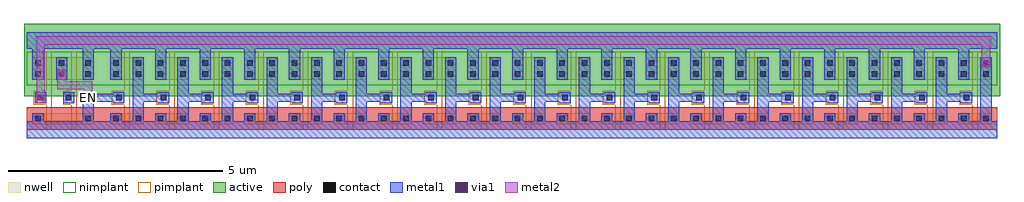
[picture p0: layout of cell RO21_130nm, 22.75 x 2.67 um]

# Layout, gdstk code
import gdstk
lib = gdstk.Library(unit=1e-6, precision=1e-09)
def R(c, l, rs):  # rectangles x0, y0, x1, y1
    for r in rs: c.add(gdstk.rectangle(r[:2], r[2:], *l))
def A(c, l, x, y, w, h, nx, ny, dx, dy):  # array of equal rectangles
    R(c, l, [(x+i*dx, y+j*dy, x+i*dx+w, y+j*dy+h) for i in range(nx) for j in range(ny)])
active = (1, 0)
nwell = (2, 0)
poly = (3, 0)
nimplant = (4, 0)
pimplant = (5, 0)
contact = (6, 0)
metal1 = (7, 0)
via1 = (8, 0)
metal2 = (9, 0)

ro21_130nm = lib.new_cell('RO21_130nm')
A(ro21_130nm, active, 1.755, 0.975, 1.17, 1.69, 20, 1, 1.04, 0)
R(ro21_130nm, active, [(-0.065,0.975,1.885,2.665)])
A(ro21_130nm, nwell, 1.95, 0.325, 0.78, 0.26, 20, 1, 1.04, 0)
A(ro21_130nm, nwell, 1.95, 1.365, 0.78, 0.52, 20, 1, 1.04, 0)
R(ro21_130nm, nwell, [(0.13,0.325,1.56,0.585), (0.13,1.365,1.56,1.885)])
A(ro21_130nm, poly, 1.82, 0.195, 1.04, 0.52, 20, 1, 1.04, 0)
R(ro21_130nm, poly, [(0,0.195,1.82,0.715)])
A(ro21_130nm, nimplant, 1.82, 1.235, 1.04, 0.78, 20, 1, 1.04, 0)
R(ro21_130nm, nimplant, [(0,1.235,1.82,2.015)])
A(ro21_130nm, pimplant, 2.275, 0.195, 0.13, 1.82, 20, 1, 1.04, 0)
R(ro21_130nm, pimplant, [(0.455,0.195,0.585,2.015), (1.04,0.195,1.17,2.015), (0.163,0.78,0.488,1.105), (0.845,0.78,1.17,1.105), (1.983,0.78,2.308,1.105), (3.022,0.78,3.347,1.105), (4.062,0.78,4.388,1.105), (5.102,0.78,5.428,1.105), (6.142,0.78,6.467,1.105), (7.182,0.78,7.507,1.105), (8.223,0.78,8.547,1.105), (9.263,0.78,9.588,1.105), (10.302,0.78,10.627,1.105), (11.343,0.78,11.668,1.105), (12.382,0.78,12.707,1.105), (13.423,0.78,13.747,1.105), (14.462,0.78,14.787,1.105), (15.503,0.78,15.827,1.105), (16.543,0.78,16.867,1.105), (17.582,0.78,17.907,1.105), (18.623,0.78,18.948,1.105), (19.663,0.78,19.988,1.105), (20.703,0.78,21.027,1.105), (21.742,0.78,22.067,1.105)])
A(ro21_130nm, contact, 2.015, 0.39, 0.13, 0.13, 40, 2, 0.52, 1.04)
A(ro21_130nm, contact, 2.08, 0.878, 0.13, 0.13, 20, 1, 1.04, 0)
A(ro21_130nm, contact, 2.015, 1.69, 0.13, 0.13, 40, 1, 0.52, 0)
R(ro21_130nm, contact, [(0.195,0.39,0.325,0.52), (1.365,0.39,1.495,0.52), (0.26,0.878,0.39,1.008), (0.91,0.878,1.04,1.008), (0.195,1.43,0.325,1.56), (0.748,1.43,0.878,1.56), (1.365,1.43,1.495,1.56), (0.195,1.69,0.325,1.82), (0.748,1.69,0.878,1.82), (1.365,1.69,1.495,1.82)])
A(ro21_130nm, metal1, 1.82, 0, 1.04, 0.39, 20, 2, 1.04, 2.08)
A(ro21_130nm, metal1, 1.95, 0, 0.26, 0.585, 20, 1, 1.04, 0)
A(ro21_130nm, metal1, 2.47, 0.325, 0.26, 1.56, 20, 1, 1.04, 0)
A(ro21_130nm, metal1, 2.015, 0.812, 0.26, 0.261, 20, 1, 1.04, 0)
A(ro21_130nm, metal1, 2.73, 0.845, 0.325, 0.195, 19, 1, 1.04, 0)
A(ro21_130nm, metal1, 1.95, 1.365, 0.26, 1.105, 20, 1, 1.04, 0)
R(ro21_130nm, metal1, [(0,0,1.82,0.39), (0.13,0,0.39,0.585), (1.3,0.325,1.56,1.04), (0.195,0.812,0.455,1.073), (0.845,0.812,1.105,1.073), (1.56,0.845,2.015,1.04), (0.13,1.365,0.39,2.47), (0.682,1.365,0.942,1.885), (1.3,1.365,1.56,2.47), (0,2.08,1.82,2.47)])
R(ro21_130nm, via1, [(1.365,0.845,1.495,0.975), (0.26,0.878,0.39,1.008), (0.748,1.43,0.878,1.56), (22.295,1.69,22.425,1.82)])
R(ro21_130nm, metal2, [(0.227,0.812,0.422,2.373), (1.332,0.812,1.528,1.332), (0.715,1.137,1.528,1.332), (0.715,1.137,0.91,1.592), (22.262,1.657,22.457,2.373), (0.227,2.178,22.457,2.373)])
ro21_130nm.add(gdstk.Label('EN', (1.43,0.942), layer=7, texttype=0))

lib.write_gds('RO21_130nm.gds')
